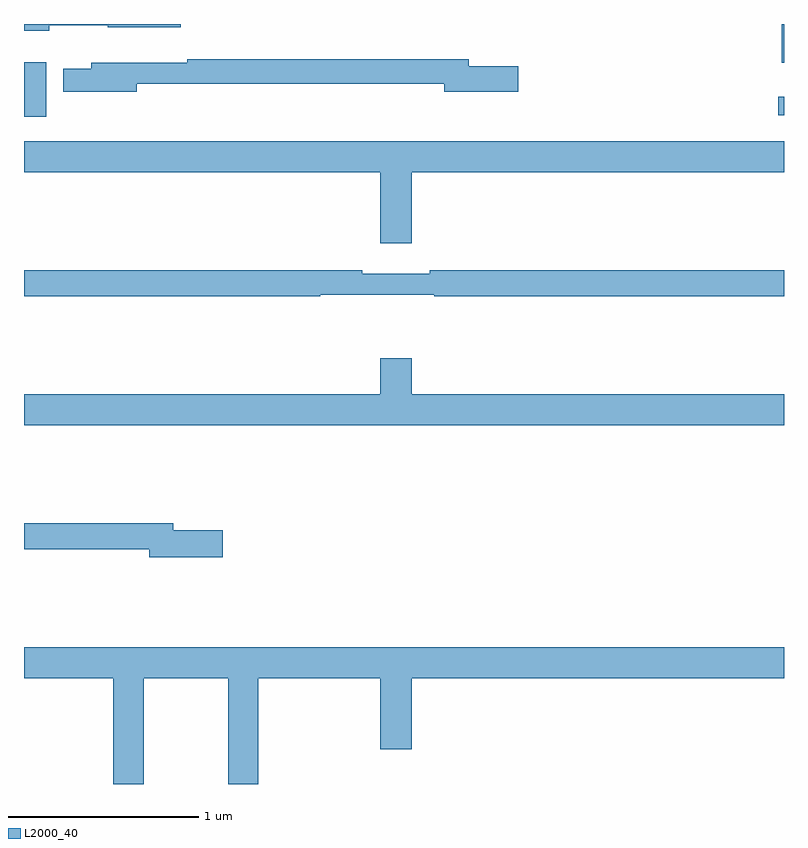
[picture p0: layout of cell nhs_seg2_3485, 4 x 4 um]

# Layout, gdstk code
import gdstk
lib = gdstk.Library(unit=1e-6, precision=1e-09)
def R(c, l, rs):  # rectangles x0, y0, x1, y1
    for r in rs: c.add(gdstk.rectangle(r[:2], r[2:], *l))
def P(c, l, *ps):  # polygons
    for p in ps: c.add(gdstk.Polygon(p, *l))
L2000_40 = (2000, 40)

nhs_seg2_3485 = lib.new_cell('nhs_seg2_3485')
R(nhs_seg2_3485, L2000_40, [(295,597.312,295.117,597.598), (298.971,597.32,299,597.417), (298.988,597.596,299,597.8)])
P(nhs_seg2_3485, L2000_40, [(295.132,597.794),(295.44,597.794),(295.44,597.782),(295.825,597.782),(295.825,597.8),(295,597.8),(295,597.764),(295.132,597.764)],
  [(295.594,597.486),(297.212,597.486),(297.212,597.443),(297.601,597.443),(297.601,597.578),(297.34,597.578),(297.34,597.614),(295.859,597.614),(295.859,597.596),(295.355,597.596),(295.355,597.565),(295.206,597.565),(295.206,597.443),(295.594,597.443)],
  [(295,597.02),(296.876,597.02),(296.876,596.646),(297.04,596.646),(297.04,597.02),(299,597.02),(299,597.184),(295,597.184)],
  [(296.558,596.376),(297.158,596.376),(297.158,596.368),(299,596.368),(299,596.504),(297.136,596.504),(297.136,596.485),(296.78,596.485),(296.78,596.504),(295,596.504),(295,596.368),(296.558,596.368)],
  [(299,595.852),(297.04,595.852),(297.04,596.041),(296.876,596.041),(296.876,595.852),(295,595.852),(295,595.688),(299,595.688)],
  [(296.047,595.136),(295.786,595.136),(295.786,595.172),(295,595.172),(295,595.036),(295.658,595.036),(295.658,594.994),(296.047,594.994)],
  [(295.629,594.356),(296.074,594.356),(296.074,593.8),(296.234,593.8),(296.234,594.356),(296.876,594.356),(296.876,593.982),(297.04,593.982),(297.04,594.356),(299,594.356),(299,594.52),(295,594.52),(295,594.356),(295.469,594.356),(295.469,593.8),(295.629,593.8)])

lib.write_gds('nhs_seg2_3485.gds')
